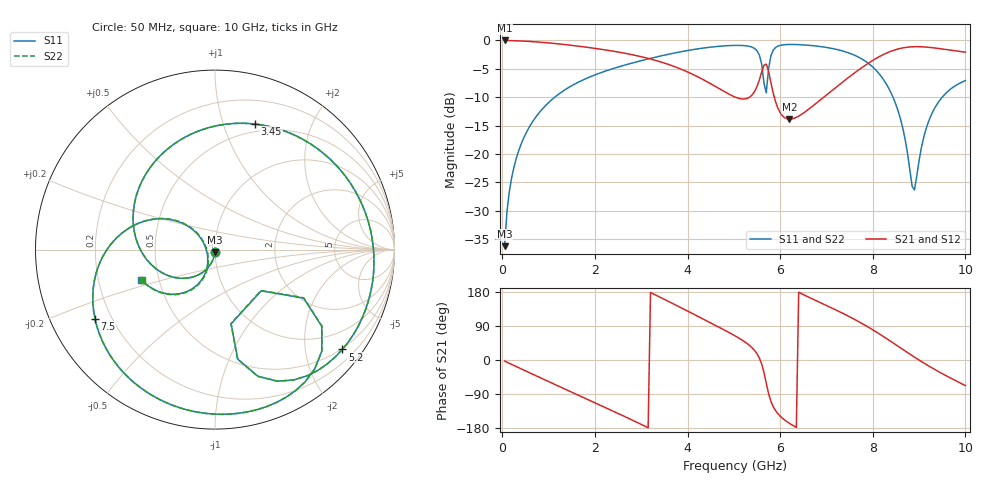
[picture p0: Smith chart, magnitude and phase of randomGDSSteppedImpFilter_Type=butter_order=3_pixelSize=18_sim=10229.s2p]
! freq	dB(S11)	phase(S11)	dB(S12)	phase(S12)
!  dB(S21)	phase(S21)	dB(S22)	phase(S22)
!S-par simulation data
#  GHz  S  DB  R 50
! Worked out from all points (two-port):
!   200 points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, 50 MHz to 10 GHz, reference 50 ohm
!   highest |S21| = 0.00 dB at 50 MHz (marker M1); lowest = -13.9 dB at 6.2 GHz (marker M2)
!   |S21| within 3 dB of the highest: start of sweep to 3.072 GHz; 8.108 GHz to end of sweep
!   lowest |S11| = -36.2 dB at 50 MHz (marker M3), VSWR 1.03, Z = 49.9 - j1.54 ohm
!   |S11| at or under -10 dB: start of sweep to 1.132 GHz; 8.436 GHz to 9.499 GHz (1.063 GHz wide, 11.8 % of centre)
!   |S22| runs from -36.2 to -0.7 dB; largest |S21 - S12| = 0
!   S11 on the Smith chart (normalised r, x): 50 MHz: 1.00, -0.03; 3.45 GHz: 0.42, +1.28; 5.2 GHz: 0.47, -2.83; 7.5 GHz: 0.14, -0.26; 10 GHz: 0.40, -0.17
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0.05  -36.23 -93.1  -0.00 -2.9  -0.00 -2.9  -36.23 -93.1
0.2  -24.27 -102.2  -0.03 -11.5  -0.03 -11.5  -24.27 -102.2
0.5  -16.53 -119.4  -0.14 -28.6  -0.14 -28.6  -16.53 -119.5
1.15  -9.88 -156.0  -0.55 -65.4  -0.55 -65.4  -9.88 -156.1
1.75  -6.93 170.4  -1.12 -98.8  -1.12 -98.8  -6.93 170.4
2.6  -4.45 122.5  -2.19 -146.7  -2.19 -146.7  -4.45 122.4
3.4  -2.77 75.3  -3.73 166.1  -3.73 166.1  -2.77 75.2
3.45  -2.68 72.2  -3.86 163.1  -3.86 163.1  -2.68 72.2
4.35  -1.33 16.5  -6.95 107.3  -6.95 107.3  -1.33 16.5
5.05  -0.87 -27.8  -10.05 62.0  -10.05 62.0  -0.87 -27.9
5.2  -0.90 -38.1  -10.32 50.8  -10.32 50.8  -0.90 -38.1
5.55  -2.56 -71.3  -6.99 5.4  -6.99 5.4  -2.56 -71.4
5.65  -7.47 -77.7  -4.37 -32.6  -4.37 -32.6  -7.50 -77.9
5.7  -9.25 -41.8  -4.17 -61.4  -4.17 -61.4  -9.29 -41.6
5.85  -1.71 -43.6  -9.27 -123.0  -9.27 -123.0  -1.71 -43.5
6.2  -0.71 -75.2  -13.87 -167.2  -13.87 -167.2  -0.70 -75.2
6.7  -0.92 -104.6  -11.57 160.9  -11.57 160.9  -0.92 -104.6
7.5  -2.25 -150.1  -6.37 114.0  -6.37 114.0  -2.25 -150.2
8.35  -8.51 153.1  -2.04 52.3  -2.04 52.3  -8.52 152.8
8.9  -26.33 -154.3  -1.10 7.5  -1.10 7.5  -26.86 -153.1
9.25  -13.36 -116.2  -1.24 -18.8  -1.24 -18.8  -13.38 -115.3
10  -7.07 -157.8  -2.08 -67.5  -2.08 -67.5  -7.07 -157.3
